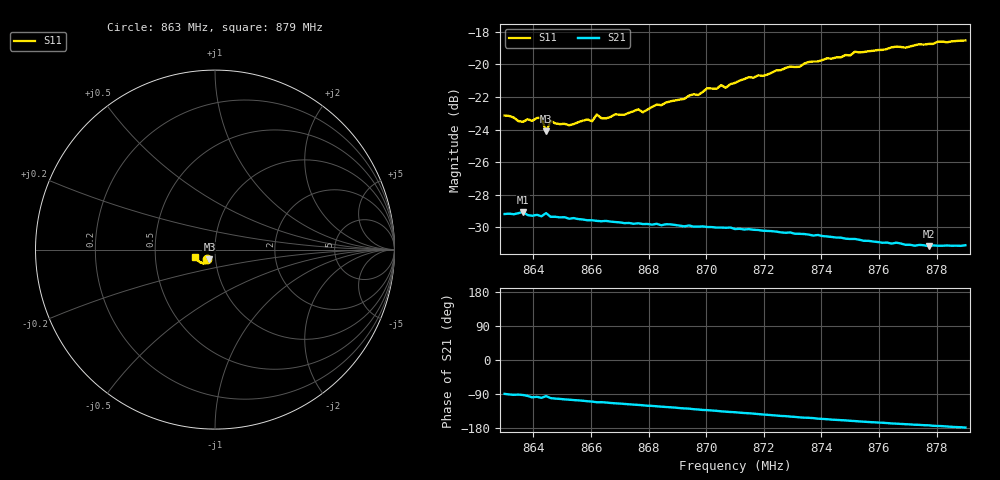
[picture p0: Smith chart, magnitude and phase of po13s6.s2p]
# HZ S RI R 50
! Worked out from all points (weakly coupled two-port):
!   101 points, 863 MHz to 879 MHz, reference 50 ohm
!   highest |S21| = -29.05 dB at 863.64 MHz (marker M1); lowest = -31.1 dB at 877.72 MHz (marker M2)
!   lowest |S11| = -24.1 dB at 864.44 MHz (marker M3), VSWR 1.13, Z = 46.7 - j5.07 ohm
!   |S11| at or under -10 dB: start of sweep to end of sweep
!   S12 and S22 are empty: the file has one direction only
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8.63e8  -0.0447 -0.0535  0.000316 -0.0348  0 0  0 0
8.6364e8  -0.0378 -0.0549  -0.00143 -0.0352  0 0  0 0
8.6428e8  -0.0396 -0.056  -0.00585 -0.0337  0 0  0 0
8.6444e8  -0.031 -0.054  -0.00324 -0.0348  0 0  0 0
8.646e8  -0.0385 -0.0549  -0.00625 -0.0335  0 0  0 0
8.6524e8  -0.0355 -0.0545  -0.00855 -0.0325  0 0  0 0
8.6572e8  -0.0346 -0.0577  -0.0101 -0.0319  0 0  0 0
8.6604e8  -0.034 -0.0576  -0.0112 -0.0313  0 0  0 0
8.662e8  -0.0376 -0.0593  -0.0121 -0.0308  0 0  0 0
8.6652e8  -0.0333 -0.0596  -0.0125 -0.0307  0 0  0 0
8.6764e8  -0.035 -0.0639  -0.0156 -0.0286  0 0  0 0
8.678e8  -0.0357 -0.0617  -0.0159 -0.0282  0 0  0 0
8.6844e8  -0.0364 -0.0655  -0.0176 -0.0269  0 0  0 0
8.6972e8  -0.0399 -0.07  -0.0207 -0.0242  0 0  0 0
8.7004e8  -0.0433 -0.0726  -0.0213 -0.0235  0 0  0 0
8.7052e8  -0.0456 -0.0733  -0.0225 -0.0222  0 0  0 0
8.7068e8  -0.0449 -0.0719  -0.0228 -0.0218  0 0  0 0
8.71e8  -0.048 -0.0735  -0.0232 -0.021  0 0  0 0
8.7372e8  -0.0676 -0.0764  -0.0267 -0.0134  0 0  0 0
8.7644e8  -0.0937 -0.0628  -0.0275 -0.00611  0 0  0 0
8.7772e8  -0.1032 -0.0519  -0.0275 -0.00371  0 0  0 0
8.79e8  -0.1119 -0.0387  -0.0279 -0.000853  0 0  0 0
